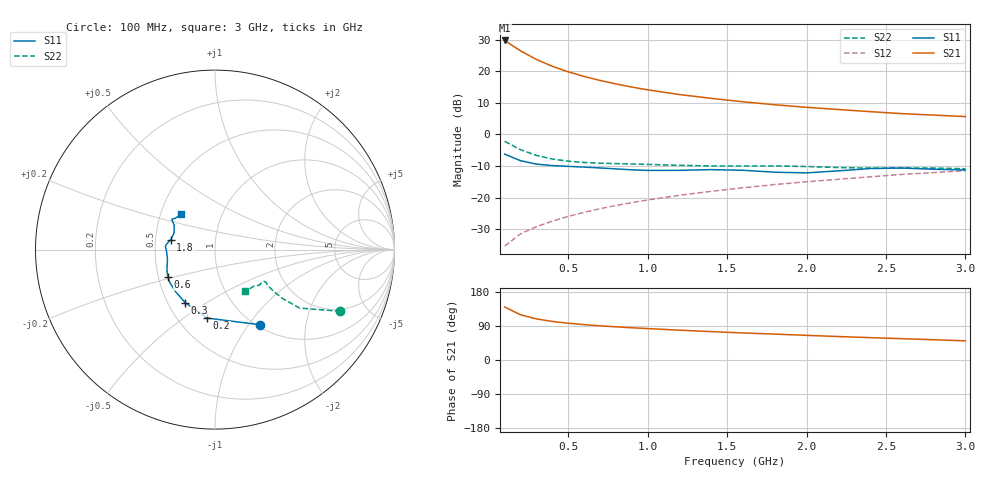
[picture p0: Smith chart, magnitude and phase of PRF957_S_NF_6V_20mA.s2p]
! Philips part #:  PRF957  Date:  Nov 1998
! Bias condition:  Vce=6V, Ic=20mA
#  MHz  S  MA  R 50
! Freq  S11  S21  S12  S22
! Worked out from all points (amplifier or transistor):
!   20 points, 100 MHz to 3 GHz, reference 50 ohm
!   highest |S21| = 29.7 dB at 100 MHz (marker M1)
!   |S21| within 3 dB of that: start of sweep to 191.3 MHz
!   unconditionally stable (mu >= 1): 823.2 MHz to end of sweep
!   at 400 MHz: K = 0.87, MSG = 24.5 dB, |S12| = -27.5 dB
!   at 1.2 GHz: K = 1.04, MAG = 14.8 dB, |S12| = -19.3 dB
!   at 3 GHz: K = 1.03, MAG = 7.5 dB, |S12| = -11.5 dB
!   lowest NFmin = 1.59 dB at 500 MHz
!   S11 on the Smith chart (normalised r, x): 100 MHz: 1.03, -1.14; 200 MHz: 0.69, -0.62; 300 MHz: 0.61, -0.41; 600 MHz: 0.56, -0.19; 1.8 GHz: 0.60, +0.07; 3 GHz: 0.64, +0.27
100  0.4881 -59.1  30.64 139.9  0.01706 69.5  0.7789 -26.2
200  0.3839 -96.4  20.98 119.3  0.02671 65.5  0.5731 -34.6
300  0.3392 -119.2  15.33 108.5  0.03463 66.7  0.4652 -35.9
400  0.321 -133.7  11.96 101.8  0.04239 68.8  0.408 -35.5
500  0.312 -143.1  9.77 97.0  0.05046 70.7  0.3771 -34.9
600  0.304 -149.7  8.256 93.3  0.05851 72.0  0.36 -34.4
700  0.2947 -154.9  7.142 90.3  0.06674 73.2  0.3507 -33.9
800  0.2847 -159.8  6.294 87.6  0.07498 74.0  0.3452 -33.4
900  0.2754 -164.7  5.614 85.1  0.08331 74.7  0.3402 -32.9
1000  0.2695 -169.7  5.074 82.9  0.09173 75.1  0.3353 -32.6
1200  0.2702 -178.4  4.272 78.7  0.1087 75.4  0.3244 -33.1
1400  0.2771 176.4  3.718 74.9  0.1257 75.4  0.3174 -35.3
1600  0.2705 173.2  3.282 71.4  0.1432 75.2  0.3172 -37.6
1800  0.2524 167.4  2.946 68.3  0.161 74.8  0.3171 -38.9
2000  0.2463 157.6  2.683 65.1  0.1782 74.4  0.3105 -40.1
2200  0.2651 149.1  2.476 61.9  0.1952 73.9  0.2992 -42.6
2400  0.2881 145.8  2.291 59.0  0.2132 73.0  0.2928 -46.5
2600  0.2938 144.7  2.131 56.3  0.2328 72.1  0.2941 -50.0
2800  0.2811 141.5  2.019 53.5  0.249 71.5  0.2939 -52.1
3000  0.2734 133.8  1.915 50.6  0.2667 71.0  0.2858 -54.0
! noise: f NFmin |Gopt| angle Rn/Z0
500  1.59  0.02  146  0.18
800  1.76  0.14  116  0.19
900  1.92  0.17  126  0.13
1000  1.92  0.16  109  0.22
1500  1.85  0.39  133  0.1
2000  2.22  0.31  -149  0.18
